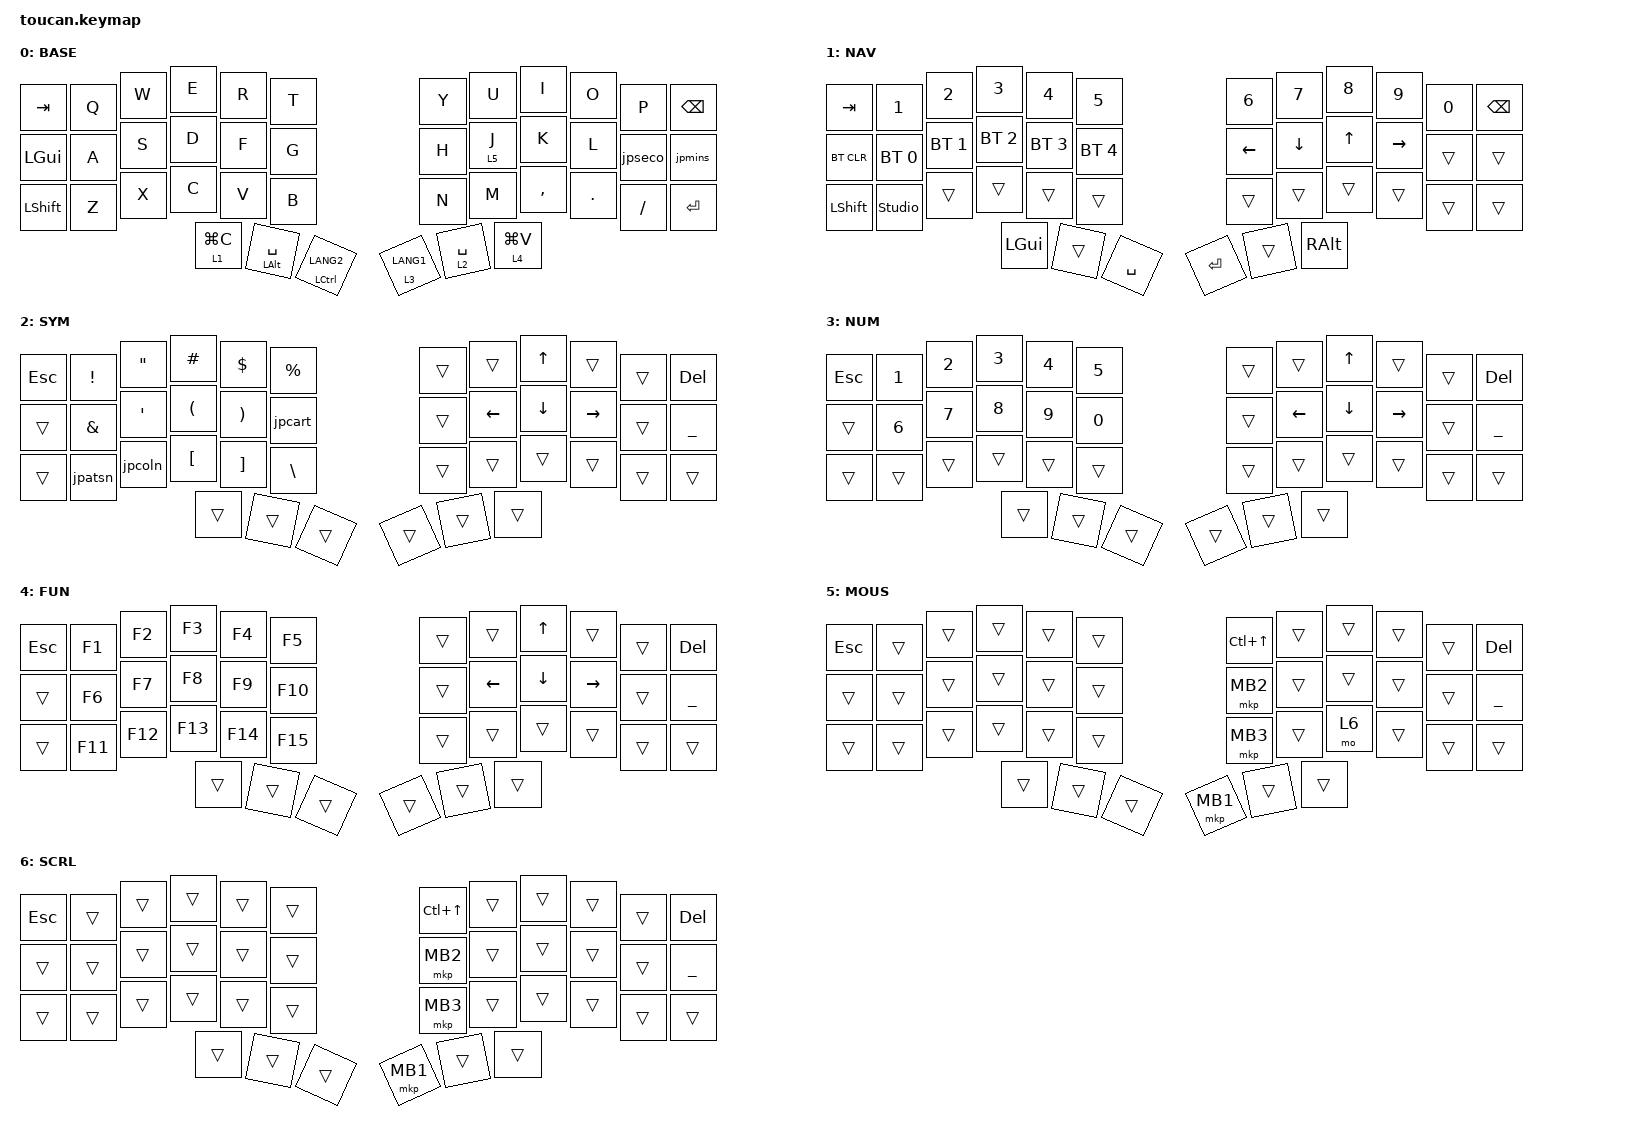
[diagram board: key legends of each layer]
#include <behaviors.dtsi>
#include <dt-bindings/zmk/keys.h>
#include <dt-bindings/zmk/bt.h>
#include <dt-bindings/zmk/outputs.h>
#include <dt-bindings/zmk/pointing.h>

#define BASE 0
#define NAV  1
#define SYM  2
#define NUM  3
#define FUN  4
#define MOUS 5
#define SCRL 6

/ {
    behaviors {
        jpseco: jp_semicolon {
            compatible  = "zmk,behavior-mod-morph";
            #binding-cells = <0>;
            bindings = <&kp SEMI>, <&kp PLUS>;
            mods = <(MOD_LSFT|MOD_RSFT)>;
        };

        jpmins: jp_minus {
            compatible  = "zmk,behavior-mod-morph";
            #binding-cells = <0>;
            bindings = <&kp MINUS>, <&kp EQUAL>;
            mods = <(MOD_LSFT|MOD_RSFT)>;
        };

        jpcart: jp_caret {
            compatible  = "zmk,behavior-mod-morph";
            #binding-cells = <0>;
            bindings = <&kp CARET>, <&kp TILDE>;
            mods = <(MOD_LSFT|MOD_RSFT)>;
        };

        jpatsn: jp_at_sign {
            compatible  = "zmk,behavior-mod-morph";
            #binding-cells = <0>;
            bindings = <&kp AT>, <&kp GRAVE>;
            mods = <(MOD_LSFT|MOD_RSFT)>;
        };

        jpcoln: jp_colon {
            compatible  = "zmk,behavior-mod-morph";
            #binding-cells = <0>;
            bindings = <&kp COLON>, <&kp ASTERISK>;
            mods = <(MOD_LSFT|MOD_RSFT)>;
        };
    };

    keymap {
        compatible = "zmk,keymap";

        base {
            display-name = "BASE";
            bindings = <
                &kp TAB       &kp Q  &kp W  &kp E  &kp R  &kp T   &kp Y  &kp U    &kp I      &kp O    &kp P     &kp BSPC
                &kp LGUI      &kp A  &kp S  &kp D  &kp F  &kp G   &kp H  &lt 5 J  &kp K      &kp L    &jpseco   &jpmins
                &kp LSHFT     &kp Z  &kp X  &kp C  &kp V  &kp B   &kp N  &kp M    &kp COMMA  &kp DOT  &kp FSLH  &kp ENTER
                &lt 1 LG(C)   &mt LALT SPACE  &mt LCTRL LANG2   &lt 3 LANG1  &lt 2 SPACE  &lt 4 LG(V)
            >;
        };

        nav {
            display-name = "NAV";
            bindings = <
                &kp TAB     &kp N1          &kp N2       &kp N3       &kp N4       &kp N5         &kp N6   &kp N7   &kp N8 &kp N9    &kp N0 &kp BSPC
                &bt BT_CLR  &bt BT_SEL 0    &bt BT_SEL 1 &bt BT_SEL 2 &bt BT_SEL 3 &bt BT_SEL 4   &kp LEFT &kp DOWN &kp UP &kp RIGHT &trans &trans
                &kp LSHFT   &studio_unlock  &trans       &trans       &trans       &trans         &trans   &trans   &trans &trans    &trans &trans
                                            &kp LGUI     &trans       &kp SPACE      &kp RET  &trans   &kp RALT
            >;
        };

        sym {
            display-name = "SYM";
            bindings = <
                &kp ESC  &kp EXCL  &kp DQT  &kp HASH  &kp DLLR  &kp PRCNT   &trans  &trans    &kp UP    &trans     &trans  &kp DEL
                &trans   &kp AMPS  &kp SQT  &kp LPAR  &kp RPAR  &jpcart     &trans  &kp LEFT  &kp DOWN  &kp RIGHT  &trans  &kp UNDER
                &trans   &jpatsn   &jpcoln  &kp LBKT  &kp RBKT  &kp BSLH    &trans  &trans    &trans    &trans     &trans  &trans
                                                   &trans  &trans  &trans   &trans  &trans  &trans
            >;
        };

        num {
            display-name = "NUM";
            bindings = <
                &kp ESC  &kp N1  &kp N2  &kp N3  &kp N4  &kp N5   &trans  &trans    &kp UP    &trans     &trans  &kp DEL
                &trans   &kp N6  &kp N7  &kp N8  &kp N9  &kp N0   &trans  &kp LEFT  &kp DOWN  &kp RIGHT  &trans  &kp UNDER
                &trans   &trans  &trans  &trans  &trans  &trans   &trans  &trans    &trans    &trans     &trans  &trans
                                         &trans  &trans  &trans   &trans  &trans  &trans
            >;
        };

        fun {
            display-name = "FUN";
            bindings = <
                &kp ESC  &kp F1   &kp F2   &kp F3   &kp F4   &kp F5    &trans  &trans    &kp UP    &trans     &trans  &kp DEL
                &trans   &kp F6   &kp F7   &kp F8   &kp F9   &kp F10   &trans  &kp LEFT  &kp DOWN  &kp RIGHT  &trans  &kp UNDER
                &trans   &kp F11  &kp F12  &kp F13  &kp F14  &kp F15   &trans  &trans    &trans    &trans     &trans  &trans
                                              &trans  &trans  &trans   &trans  &trans  &trans
            >;
        };

        mouse {
            display-name = "MOUS";
            bindings = <
                &kp ESC  &trans  &trans  &trans  &trans  &trans   &kp LC(UP)  &trans  &trans  &trans  &trans  &kp DEL
                &trans   &trans  &trans  &trans  &trans  &trans   &mkp MB2    &trans  &trans  &trans  &trans  &kp UNDER
                &trans   &trans  &trans  &trans  &trans  &trans   &mkp MB3    &trans  &mo 6  &trans  &trans  &trans
                                         &trans  &trans  &trans   &mkp MB1  &trans  &trans
            >;
        };

        scroll {
            display-name = "SCRL";
            bindings = <
                &kp ESC  &trans  &trans  &trans  &trans  &trans   &kp LC(UP)  &trans  &trans  &trans  &trans  &kp DEL
                &trans   &trans  &trans  &trans  &trans  &trans   &mkp MB2    &trans  &trans  &trans  &trans  &kp UNDER
                &trans   &trans  &trans  &trans  &trans  &trans   &mkp MB3    &trans  &trans  &trans  &trans  &trans
                                         &trans  &trans  &trans   &mkp MB1  &trans  &trans
            >;
        };
    };
};
